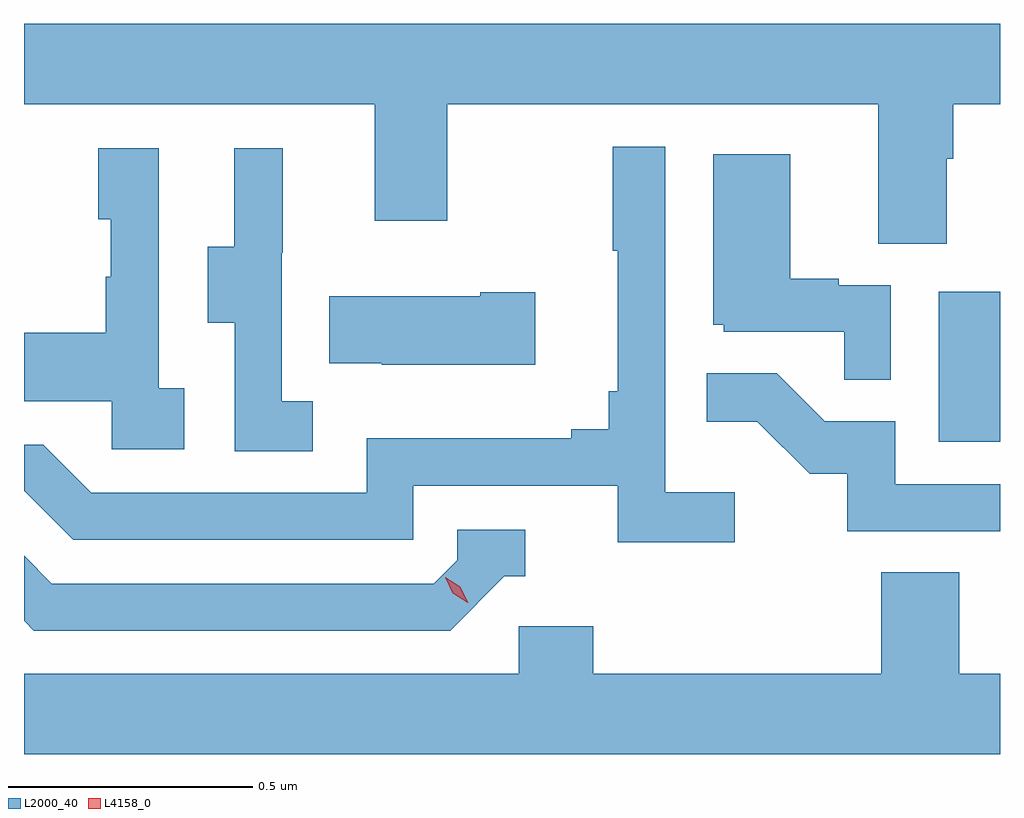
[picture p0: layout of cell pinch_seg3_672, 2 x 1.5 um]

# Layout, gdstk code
import gdstk
lib = gdstk.Library(unit=1e-6, precision=1e-09)
def R(c, l, rs):  # rectangles x0, y0, x1, y1
    for r in rs: c.add(gdstk.rectangle(r[:2], r[2:], *l))
def P(c, l, *ps):  # polygons
    for p in ps: c.add(gdstk.Polygon(p, *l))
L2000_40 = (2000, 40)
L4158_0 = (4158, 0)

pinch_seg3_672 = lib.new_cell('pinch_seg3_672')
R(pinch_seg3_672, L2000_40, [(1051.586,669.588,1051.712,669.895)])
P(pinch_seg3_672, L2000_40, [(1051.603,670.168),(1051.616,670.168),(1051.616,670.28),(1051.712,670.28),(1051.712,670.444),(1049.712,670.444),(1049.712,670.28),(1050.431,670.28),(1050.431,670.041),(1050.579,670.041),(1050.579,670.28),(1051.463,670.28),(1051.463,669.994),(1051.603,669.994)],
  [(1051.168,669.484),(1051.026,669.484),(1051.026,670.192),(1050.918,670.192),(1050.918,669.979),(1050.929,669.979),(1050.929,669.691),(1050.91,669.691),(1050.91,669.614),(1050.833,669.614),(1050.833,669.595),(1050.414,669.595),(1050.414,669.483),(1049.85,669.483),(1049.751,669.582),(1049.712,669.582),(1049.712,669.486),(1049.714,669.486),(1049.813,669.387),(1050.51,669.387),(1050.51,669.498),(1050.929,669.498),(1050.929,669.382),(1051.168,669.382)],
  [(1050.304,669.671),(1050.24,669.671),(1050.24,669.975),(1050.242,669.975),(1050.242,670.189),(1050.143,670.189),(1050.143,669.987),(1050.089,669.987),(1050.089,669.832),(1050.144,669.832),(1050.144,669.568),(1050.304,669.568)],
  [(1050.04,669.698),(1049.988,669.698),(1049.988,670.189),(1049.864,670.189),(1049.864,670.044),(1049.89,670.044),(1049.89,669.926),(1049.88,669.926),(1049.88,669.811),(1049.712,669.811),(1049.712,669.671),(1049.892,669.671),(1049.892,669.573),(1050.04,669.573)],
  [(1051.488,669.909),(1051.382,669.909),(1051.382,669.922),(1051.282,669.922),(1051.282,670.177),(1051.124,670.177),(1051.124,669.828),(1051.146,669.828),(1051.146,669.813),(1051.393,669.813),(1051.393,669.715),(1051.488,669.715)],
  [(1050.76,669.894),(1050.647,669.894),(1050.647,669.886),(1050.337,669.886),(1050.337,669.749),(1050.445,669.749),(1050.445,669.746),(1050.76,669.746)],
  [(1051.712,669.501),(1051.497,669.501),(1051.497,669.63),(1051.353,669.63),(1051.255,669.728),(1051.111,669.728),(1051.111,669.629),(1051.215,669.629),(1051.322,669.522),(1051.399,669.522),(1051.399,669.405),(1051.712,669.405)],
  [(1050.696,669.312),(1050.739,669.312),(1050.739,669.408),(1050.6,669.408),(1050.6,669.345),(1050.552,669.297),(1049.769,669.297),(1049.712,669.354),(1049.712,669.221),(1049.732,669.201),(1050.585,669.201)],
  [(1051.712,669.112),(1051.629,669.112),(1051.629,669.32),(1051.469,669.32),(1051.469,669.112),(1050.878,669.112),(1050.878,669.21),(1050.726,669.21),(1050.726,669.112),(1049.712,669.112),(1049.712,668.948),(1051.712,668.948)])
P(pinch_seg3_672, L4158_0, [(1050.621,669.258),(1050.591,669.277),(1050.575,669.31),(1050.575,669.31),(1050.575,669.31),(1050.606,669.291),(1050.622,669.258),(1050.622,669.258)])

lib.write_gds('pinch_seg3_672.gds')
